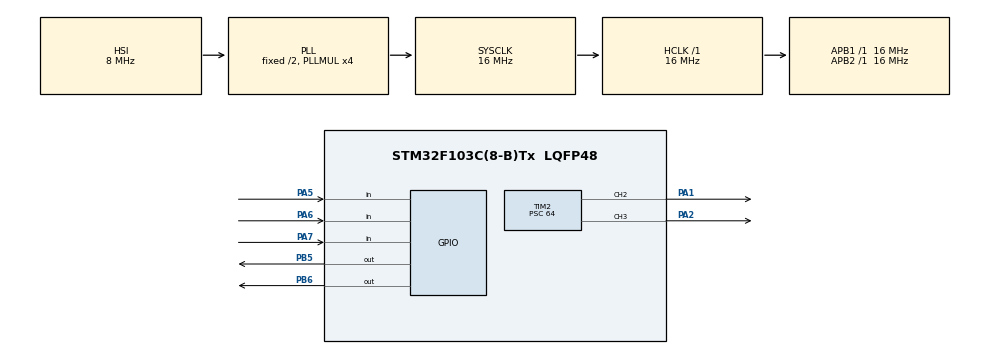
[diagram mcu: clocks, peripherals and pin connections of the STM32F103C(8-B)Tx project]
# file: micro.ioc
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Mcu.Family=STM32F1
Mcu.Name=STM32F103C(8-B)Tx
Mcu.Package=LQFP48
NVIC.PriorityGroup=NVIC_PRIORITYGROUP_4
PA1.Signal=S_TIM2_CH2
PA13.Mode=Serial_Wire
PA13.Signal=SYS_JTMS-SWDIO
PA14.Mode=Serial_Wire
PA14.Signal=SYS_JTCK-SWCLK
PA2.Signal=S_TIM2_CH3
PA5.Signal=GPIO_Input
PA6.Signal=GPIO_Input
PA7.Signal=GPIO_Input
PB5.Signal=GPIO_Output
PB6.Signal=GPIO_Output
ProjectManager.HeapSize=0x200
ProjectManager.StackSize=0x400
ProjectManager.TargetToolchain=STM32CubeIDE
RCC.AHBFreq_Value=16000000
RCC.APB1Freq_Value=16000000
RCC.APB1TimFreq_Value=16000000
RCC.APB2Freq_Value=16000000
RCC.APB2TimFreq_Value=16000000
RCC.HCLKFreq_Value=16000000
RCC.PLLMUL=RCC_PLL_MUL4
RCC.SYSCLKFreq_VALUE=16000000
RCC.SYSCLKSource=RCC_SYSCLKSOURCE_PLLCLK
RCC.USBFreq_Value=16000000
SH.S_TIM2_CH2.0=TIM2_CH2,PWM Generation2 CH2
SH.S_TIM2_CH3.0=TIM2_CH3,PWM Generation3 CH3
TIM2.Channel-PWM\ Generation2\ CH2=TIM_CHANNEL_2
TIM2.Channel-PWM\ Generation3\ CH3=TIM_CHANNEL_3
TIM2.Period=255
TIM2.Prescaler=64
TIM2.Pulse-PWM\ Generation2\ CH2=128
TIM2.Pulse-PWM\ Generation3\ CH3=128
board=custom

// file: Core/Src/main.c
/* USER CODE BEGIN Header */
/**
  ******************************************************************************
  * @file           : main.c
  * @brief          : Main program body
  ******************************************************************************
  * @attention
  *
  * Copyright (c) 2024 STMicroelectronics.
  * All rights reserved.
  *
  * This software is licensed under terms that can be found in the LICENSE file
  * in the root directory of this software component.
  * If no LICENSE file comes with this software, it is provided AS-IS.
  *
  ******************************************************************************
  */
/* USER CODE END Header */
#include "main.h"

TIM_HandleTypeDef htim2;

void SystemClock_Config(void);
static void MX_GPIO_Init(void);
static void MX_TIM2_Init(void);

int main(void)
{

  /* MCU Configuration--------------------------------------------------------*/

  /* Reset of all peripherals, Initializes the Flash interface and the Systick. */
  HAL_Init();

  /* Configure the system clock */
  SystemClock_Config();

  /* USER CODE BEGIN SysInit */

  /* USER CODE END SysI..
   * ........nit */

  /* Initialize all configured peripherals */
  MX_GPIO_Init();
  MX_TIM2_Init();
  /* USER CODE BEGIN 2 */
  HAL_TIM_PWM_Start(&htim2, TIM_CHANNEL_2);
  HAL_TIM_PWM_Start(&htim2, TIM_CHANNEL_3);
  /* USER CODE END 2 */

  /* Infinite loop */
  /* USER CODE BEGIN WHILE */
  while (1)
  {

	TIM2 -> CCR2 = 100;
	TIM2 -> CCR3 = 100;

	int Right_Sensor  = HAL_GPIO_ReadPin(GPIOA, GPIO_PIN_5);
	int Middle_Sensor = HAL_GPIO_ReadPin(GPIOA, GPIO_PIN_6);
	int Left_Sensor   = HAL_GPIO_ReadPin(GPIOA, GPIO_PIN_7);

	if ((Right_Sensor == 0) && (Middle_Sensor == 1) && (Left_Sensor == 0))
	{
		HAL_GPIO_WritePin(GPIOB, GPIO_PIN_5, 1);
		HAL_GPIO_WritePin(GPIOB, GPIO_PIN_6, 1);
	}
	else if ((Right_Sensor == 0) && (Middle_Sensor == 0) && (Left_Sensor == 1))
	{
		HAL_GPIO_WritePin(GPIOB, GPIO_PIN_5, 0);
		HAL_GPIO_WritePin(GPIOB, GPIO_PIN_6, 1);
	}
	else if ((Right_Sensor == 0) && (Middle_Sensor == 1) && (Left_Sensor == 1))
	{
		HAL_GPIO_WritePin(GPIOB, GPIO_PIN_5, 0);
		HAL_GPIO_WritePin(GPIOB, GPIO_PIN_6, 1);
	}

	else if ((Right_Sensor == 1) && (Middle_Sensor == 1) && (Left_Sensor == 0))
	{
		HAL_GPIO_WritePin(GPIOB, GPIO_PIN_5, 1);
		HAL_GPIO_WritePin(GPIOB, GPIO_PIN_6, 0);
	}
	else if ((Right_Sensor == 1) && (Middle_Sensor == 0) && (Left_Sensor == 0))
	{
		HAL_GPIO_WritePin(GPIOB, GPIO_PIN_5, 1);
		HAL_GPIO_WritePin(GPIOB, GPIO_PIN_6, 0);
	}
	else
	{
		HAL_GPIO_WritePin(GPIOB, GPIO_PIN_5, 0);
		HAL_GPIO_WritePin(GPIOB, GPIO_PIN_6, 0);
	}

    /* USER CODE END WHILE */

  }
}

void SystemClock_Config(void)
{
  RCC_OscInitTypeDef RCC_OscInitStruct = {0};
  RCC_ClkInitTypeDef RCC_ClkInitStruct = {0};

  /** Initializes the RCC Oscillators according to the specified parameters
  * in the RCC_OscInitTypeDef structure.
  */
  RCC_OscInitStruct.OscillatorType = RCC_OSCILLATORTYPE_HSI;
  RCC_OscInitStruct.HSIState = RCC_HSI_ON;
  RCC_OscInitStruct.HSICalibrationValue = RCC_HSICALIBRATION_DEFAULT;
  RCC_OscInitStruct.PLL.PLLState = RCC_PLL_ON;
  RCC_OscInitStruct.PLL.PLLSource = RCC_PLLSOURCE_HSI_DIV2;
  RCC_OscInitStruct.PLL.PLLMUL = RCC_PLL_MUL4;
  if (HAL_RCC_OscConfig(&RCC_OscInitStruct) != HAL_OK)
  {
    Error_Handler();
  }

  /** Initializes the CPU, AHB and APB buses clocks
  */
  RCC_ClkInitStruct.ClockType = RCC_CLOCKTYPE_HCLK|RCC_CLOCKTYPE_SYSCLK
                              |RCC_CLOCKTYPE_PCLK1|RCC_CLOCKTYPE_PCLK2;
  RCC_ClkInitStruct.SYSCLKSource = RCC_SYSCLKSOURCE_PLLCLK;
  RCC_ClkInitStruct.AHBCLKDivider = RCC_SYSCLK_DIV1;
  RCC_ClkInitStruct.APB1CLKDivider = RCC_HCLK_DIV1;
  RCC_ClkInitStruct.APB2CLKDivider = RCC_HCLK_DIV1;

  if (HAL_RCC_ClockConfig(&RCC_ClkInitStruct, FLASH_LATENCY_0) != HAL_OK)
  {
    Error_Handler();
  }
}

static void MX_TIM2_Init(void)
{

  TIM_MasterConfigTypeDef sMasterConfig = {0};
  TIM_OC_InitTypeDef sConfigOC = {0};

  htim2.Instance = TIM2;
  htim2.Init.Prescaler = 64;
  htim2.Init.CounterMode = TIM_COUNTERMODE_UP;
  htim2.Init.Period = 255;
  htim2.Init.ClockDivision = TIM_CLOCKDIVISION_DIV1;
  htim2.Init.AutoReloadPreload = TIM_AUTORELOAD_PRELOAD_DISABLE;
  if (HAL_TIM_PWM_Init(&htim2) != HAL_OK)
  {
    Error_Handler();
  }
  sMasterConfig.MasterOutputTrigger = TIM_TRGO_RESET;
  sMasterConfig.MasterSlaveMode = TIM_MASTERSLAVEMODE_DISABLE;
  if (HAL_TIMEx_MasterConfigSynchronization(&htim2, &sMasterConfig) != HAL_OK)
  {
    Error_Handler();
  }
  sConfigOC.OCMode = TIM_OCMODE_PWM1;
  sConfigOC.Pulse = 128;
  sConfigOC.OCPolarity = TIM_OCPOLARITY_HIGH;
  sConfigOC.OCFastMode = TIM_OCFAST_DISABLE;
  if (HAL_TIM_PWM_ConfigChannel(&htim2, &sConfigOC, TIM_CHANNEL_2) != HAL_OK)
  {
    Error_Handler();
  }
  if (HAL_TIM_PWM_ConfigChannel(&htim2, &sConfigOC, TIM_CHANNEL_3) != HAL_OK)
  {
    Error_Handler();
  }
  HAL_TIM_MspPostInit(&htim2);

}

static void MX_GPIO_Init(void)
{
  GPIO_InitTypeDef GPIO_InitStruct = {0};

  /* GPIO Ports Clock Enable */
  __HAL_RCC_GPIOA_CLK_ENABLE();
  __HAL_RCC_GPIOB_CLK_ENABLE();

  /*Configure GPIO pin Output Level */
  HAL_GPIO_WritePin(GPIOB, GPIO_PIN_5|GPIO_PIN_6, GPIO_PIN_RESET);

  /*Configure GPIO pins : PA5 PA6 PA7 */
  GPIO_InitStruct.Pin = GPIO_PIN_5|GPIO_PIN_6|GPIO_PIN_7;
  GPIO_InitStruct.Mode = GPIO_MODE_INPUT;
  GPIO_InitStruct.Pull = GPIO_NOPULL;
  HAL_GPIO_Init(GPIOA, &GPIO_InitStruct);

  /*Configure GPIO pins : PB5 PB6 */
  GPIO_InitStruct.Pin = GPIO_PIN_5|GPIO_PIN_6;
  GPIO_InitStruct.Mode = GPIO_MODE_OUTPUT_PP;
  GPIO_InitStruct.Pull = GPIO_NOPULL;
  GPIO_InitStruct.Speed = GPIO_SPEED_FREQ_LOW;
  HAL_GPIO_Init(GPIOB, &GPIO_InitStruct);

}

void Error_Handler(void)
{
  __disable_irq();
  while (1)
  {
  }
}
